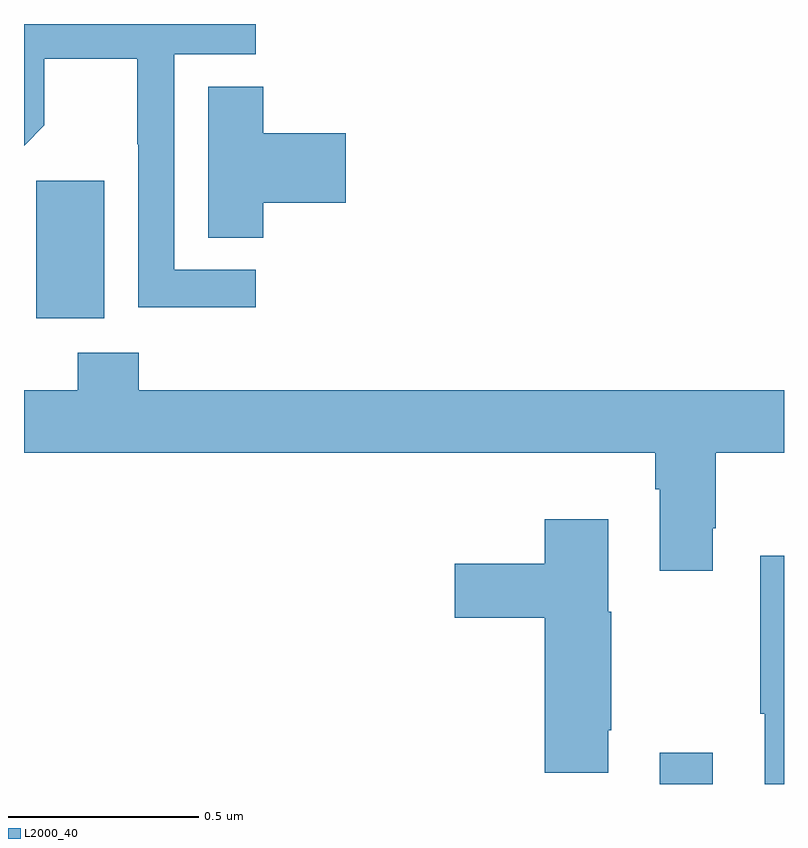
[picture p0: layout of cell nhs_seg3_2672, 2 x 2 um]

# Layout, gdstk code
import gdstk
lib = gdstk.Library(unit=1e-6, precision=1e-09)
def R(c, l, rs):  # rectangles x0, y0, x1, y1
    for r in rs: c.add(gdstk.rectangle(r[:2], r[2:], *l))
def P(c, l, *ps):  # polygons
    for p in ps: c.add(gdstk.Polygon(p, *l))
L2000_40 = (2000, 40)

nhs_seg3_2672 = lib.new_cell('nhs_seg3_2672')
R(nhs_seg3_2672, L2000_40, [(145.673,677.4,145.813,677.482), (144.032,678.626,144.211,678.987)])
P(nhs_seg3_2672, L2000_40, [(144.61,678.753),(144.396,678.753),(144.396,679.32),(144.61,679.32),(144.61,679.4),(144,679.4),(144,679.08),(144.053,679.133),(144.053,679.308),(144.298,679.308),(144.298,679.084),(144.3,679.084),(144.3,678.655),(144.61,678.655)],
  [(144.629,678.929),(144.847,678.929),(144.847,679.112),(144.629,679.112),(144.629,679.235),(144.485,679.235),(144.485,678.838),(144.629,678.838)],
  [(145.813,678.073),(145.821,678.073),(145.821,678.272),(146,678.272),(146,678.436),(144.302,678.436),(144.302,678.535),(144.142,678.535),(144.142,678.436),(144,678.436),(144,678.272),(145.661,678.272),(145.661,678.176),(145.673,678.176),(145.673,677.961),(145.813,677.961)],
  [(145.537,677.542),(145.545,677.542),(145.545,677.853),(145.537,677.853),(145.537,678.097),(145.37,678.097),(145.37,677.979),(145.134,677.979),(145.134,677.837),(145.37,677.837),(145.37,677.43),(145.537,677.43)],
  [(146,678.001),(145.938,678.001),(145.938,677.585),(145.949,677.585),(145.949,677.4),(146,677.4)])

lib.write_gds('nhs_seg3_2672.gds')
